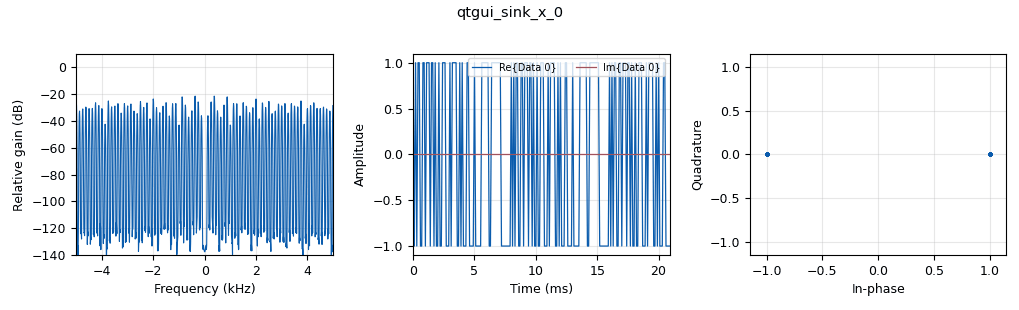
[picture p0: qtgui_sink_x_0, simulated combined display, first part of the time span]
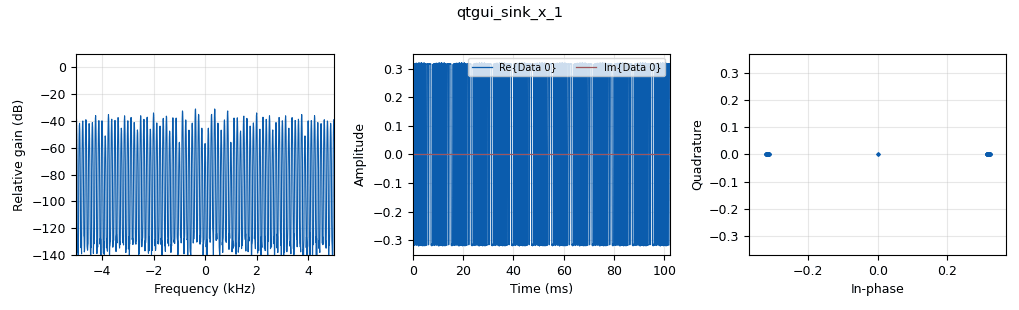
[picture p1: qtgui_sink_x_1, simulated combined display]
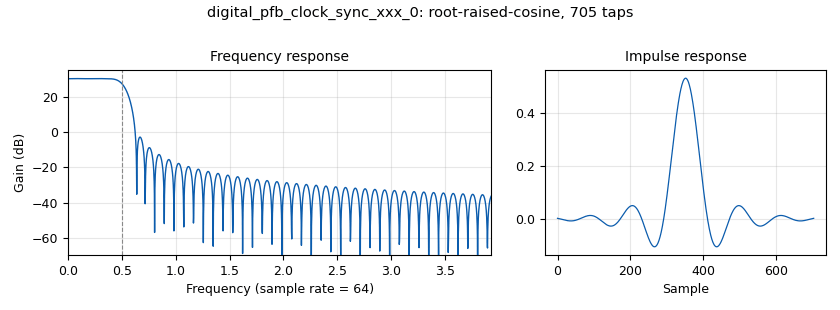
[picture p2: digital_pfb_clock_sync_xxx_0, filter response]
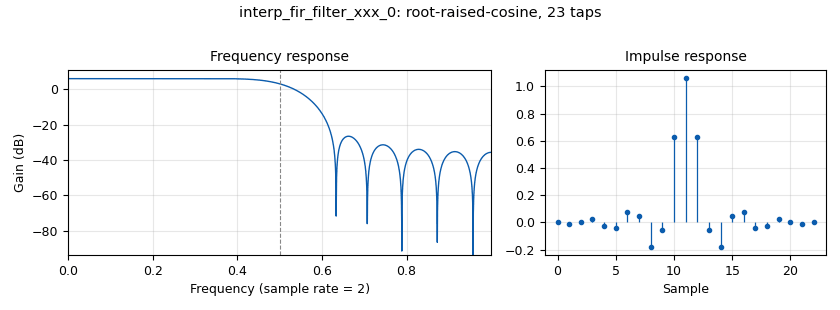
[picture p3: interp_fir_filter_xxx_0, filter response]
options:
  parameters:
    category: Custom
    generate_options: qt_gui
    id: example_corr_est_and_clock_sync
    output_language: python
  states: {}

blocks:
- name: ac
  id: variable
  parameters:
    value: 'list(map(lambda x: int(x), list(digital.packet_utils.default_access_code)))'
  states: {}
- name: ac_hex
  id: variable
  parameters:
    value: '[0xac, 0xdd, 0xa4, 0xe2, 0xf2, 0x8c, 0x20, 0xfc]'
  states: {}
- name: eb
  id: variable
  parameters:
    value: '0.22'
  states: {}
- name: filt_delay
  id: variable
  parameters:
    value: 1+(len(rrc_taps)-1)//2
  states: {}
- name: freq_off
  id: variable_qtgui_range
  parameters:
    gui_hint: 1,0,1,1
    label: Freq. Off.
    start: '-0.25'
    step: '0.0001'
    stop: '0.25'
    value: '0'
  states: {}
- name: hdr_const
  id: variable_constellation
  parameters:
    const_points: digital.psk_2()[0]
    dims: '1'
    normalization: digital.constellation.AMPLITUDE_NORMALIZATION
    precision: '8'
    rot_sym: '2'
    soft_dec_lut: '''auto'''
    sym_map: digital.psk_2()[1]
    type: calcdist
  states: {}
- name: mark_delay
  id: variable
  parameters:
    value: mark_delays[sps]
  states: {}
- name: mark_delays
  id: variable
  parameters:
    comment: |-
      Tag Marking Delay for 
      Corr Est block, indexed
      by sps.

      Found empirically.
    value: '[0, 0, 34, 56, 87, 119]'
  states: {}
- name: modulated_sync_word
  id: variable_modulate_vector
  parameters:
    data: ac_hex
    mod: rxmod
    taps: '[1]'
  states: {}
- name: nfilts
  id: variable
  parameters:
    value: '32'
  states: {}
- name: noise
  id: variable_qtgui_range
  parameters:
    gui_hint: 0,1,1,1
    label: Noise Power
    start: '-50'
    step: '1'
    stop: '10'
    value: '-50'
  states: {}
- name: path_loss
  id: variable_qtgui_range
  parameters:
    gui_hint: 0,0,1,1
    label: Path Loss (dB)
    start: '0'
    step: '5'
    stop: '140'
    value: '10'
  states: {}
- name: rrc_taps
  id: variable_rrc_filter_taps
  parameters:
    alpha: eb
    gain: sps
    ntaps: 11*sps
    samp_rate: sps
    sym_rate: '1.0'
  states: {}
- name: rx_psf_taps
  id: variable_rrc_filter_taps
  parameters:
    alpha: eb
    gain: nfilts
    ntaps: 11*sps*nfilts
    samp_rate: sps*nfilts
    sym_rate: '1.0'
  states: {}
- name: rxmod
  id: variable
  parameters:
    value: digital.generic_mod(hdr_const, False, sps, True, eb, False, False)
  states: {}
- name: samp_rate
  id: variable
  parameters:
    value: 10e3
  states: {}
- name: sps
  id: variable
  parameters:
    value: '2'
  states: {}
- name: time_off
  id: variable_qtgui_range
  parameters:
    gui_hint: 1,1,1,1
    label: Time Off.
    start: '0.9999'
    step: '0.00001'
    stop: '1.0001'
    value: '1.0'
  states: {}
- name: blocks_add_const_vxx_0
  id: blocks_add_const_vxx
  parameters:
    const: '-1'
    type: complex
  states: {}
- name: blocks_complex_to_mag_squared_0
  id: blocks_complex_to_mag_squared
  parameters: {}
  states: {state: disabled}
- name: blocks_multiply_const_vxx_0
  id: blocks_multiply_const_vxx
  parameters:
    const: '2'
    type: complex
  states: {}
- name: blocks_null_source_0
  id: blocks_null_source
  parameters:
    type: complex
  states: {}
- name: blocks_stream_mux_0
  id: blocks_stream_mux
  parameters:
    lengths: (80, 80)
    type: complex
  states: {}
- name: blocks_stream_to_tagged_stream_0
  id: blocks_stream_to_tagged_stream
  parameters:
    len_tag_key: '"packet_len"'
    packet_len: len(ac)+16
    type: complex
  states: {}
- name: blocks_tagged_stream_align_0
  id: blocks_tagged_stream_align
  parameters:
    lengthtagname: '"corr_start"'
    type: complex
  states: {}
- name: blocks_throttle_0
  id: blocks_throttle
  parameters:
    samples_per_second: samp_rate
    type: complex
  states: {}
- name: blocks_vector_source_x_0
  id: blocks_vector_source_x
  parameters:
    repeat: 'True'
    type: complex
    vector: '[1,1,1,1,1,1,1,1,0,0,0,0,0,0,0,0] + ac'
  states: {}
- name: channels_channel_model_0
  id: channels_channel_model
  parameters:
    block_tags: 'True'
    epsilon: time_off
    freq_offset: freq_off
    noise_voltage: sps * 10.0**(noise/10.0)
    seed: '0'
    taps: 10.0**(-path_loss/20.0)
  states: {}
- name: digital_corr_est_cc_0
  id: digital_corr_est_cc
  parameters:
    mark_delay: mark_delay
    sps: sps
    symbols: modulated_sync_word
    threshold: '0.999'
    threshold_method: digital.THRESHOLD_DYNAMIC
  states: {}
- name: digital_pfb_clock_sync_xxx_0
  id: digital_pfb_clock_sync_xxx
  parameters:
    filter_size: nfilts
    init_phase: nfilts/2
    loop_bw: 6.28/400.0
    max_dev: '1.5'
    osps: '1'
    sps: sps
    taps: rx_psf_taps
    type: ccf
  states: {}
- name: epy_block_0
  id: epy_block
  parameters:
    _source_code: |-
      import numpy as np
      from gnuradio import gr
      import pmt

      class my_basic_adder_block(gr.basic_block):
          def __init__(self,tag_name = 'packet_len', len = 1):
              gr.basic_block.__init__(self,
                                      name="Tagged Stream Cropper",
                                      in_sig  = [np.complex64],
                                      out_sig = [np.complex64])

              self.previous_tag_n_remainder = 0
              self.tag_name                 = tag_name
              self.set_tag_propagation_policy(gr.TPP_DONT)
              self.len = len


          def general_work(self, input_items, output_items):
              len_out = len(output_items[0])

              # DO PROCESSING
              out_produced = 0 # output produced 

              #-> Write the remaining data of the previous tag
              if self.previous_tag_n_remainder > 0: 
                  if self.previous_tag_n_remainder < len_out: # if the length of the input items is sufficient to write the remainder of the previous tag items 
                      output_items[0][:self.previous_tag_n_remainder] = input_items[0][:self.previous_tag_n_remainder] #write to output 
                      out_produced                                   += self.previous_tag_n_remainder                  #inccrease the number of item produced
                      self.previous_tag_n_remainder = 0                                                                #reset the counter 
                      # the RETURN is at the end of the work()

                  else: # self.previous_tag_n_remainder >= len_out
                      output_items[0][:len_out]      = input_items[0][:len_out]
                      self.previous_tag_n_remainder -= len_out
                      self.consume(0, len_out)
                      return len_out

              # READ TAGS AND PARSE THE RECEIVED STREAM
              tags = self.get_tags_in_window(0, out_produced, len_out)

              #if there exist tag
              if len(tags) > 0:
                  #for each tag apply
                  for tag in tags:
                      tag_name   = pmt.to_python(tag.key)            # packet_tag
                      tag_len    = self.len          # packet_len
                      tag_pos    = tag.offset - self.nitems_read(0)  # packet_position_index
                      if tag_name == self.tag_name:       #check if the tag name is appropriate
                          if tag_pos + tag_len < len_out: # if all the elements correspding to the "tag" are included in the input_items

                              # write the elements to the output
                              output_items[0][out_produced:(out_produced+tag_len)] = input_items[0][tag_pos:(tag_pos+tag_len)]

                              # add tag to the corresponding start point                     
                              self.add_item_tag(0,                                   # Write to output port 0
                                               self.nitems_written(0)+out_produced,  # Index of the tag in absolute terms
                                               tag.key,                              # Key of the tag
                                               tag.value                             # Value of the tag
                                               )
                              #increase the number of output element produced counter
                              out_produced += tag_len

                          else: #tag_pos+tag_len >= len_out:
                              n_item_to_wrt = len_out - tag_pos
                              output_items[0][out_produced:(out_produced + n_item_to_wrt)] = input_items[0][tag_pos:(tag_pos+n_item_to_wrt)]

                              self.add_item_tag(0,                                     # Write to output port 0
                                                self.nitems_written(0)+out_produced,   # Index of the tag in absolute terms
                                                tag.key,                               # Key of the tag
                                                tag.value                              # Value of the tag
                                                )

                              self.previous_tag_n_remainder = tag_len - n_item_to_wrt
                              out_produced                 += n_item_to_wrt
                              self.consume(0,len_out)
                              return out_produced

              #if there is no tag exits
              self.consume(0,len_out)

              #recall that the first "if" state is producing element!
              return out_produced
    len: '80'
    tag_name: '"corr_start"'
  states: {}
- name: interp_fir_filter_xxx_0
  id: interp_fir_filter_xxx
  parameters:
    interp: sps
    samp_delay: filt_delay
    taps: rrc_taps
    type: ccc
  states: {}
- name: qtgui_const_sink_x_0
  id: qtgui_const_sink_x
  parameters:
    gui_hint: tab1@1
    legend: 'False'
    size: '512'
    type: complex
  states: {state: disabled}
- name: qtgui_sink_x_0
  id: qtgui_sink_x
  parameters:
    bw: samp_rate
    fc: '0'
    fftsize: '1024'
    type: complex
  states: {}
- name: qtgui_sink_x_1
  id: qtgui_sink_x
  parameters:
    bw: samp_rate
    fc: '0'
    fftsize: '1024'
    type: complex
  states: {}
- name: qtgui_time_sink_x_0
  id: qtgui_time_sink_x
  parameters:
    label1: ''
    label2: ''
    legend: 'False'
    size: '200'
    srate: samp_rate
    tr_delay: '15'
    tr_mode: qtgui.TRIG_MODE_TAG
    tr_tag: corr_start
    type: complex
    ymax: '1.5'
    ymin: '-1.5'
  states: {}
- name: qtgui_time_sink_x_0_0
  id: qtgui_time_sink_x
  parameters:
    gui_hint: tab0@0
    label1: ''
    label2: ''
    legend: 'False'
    size: '512'
    srate: '1'
    tr_delay: '15'
    tr_level: '0'
    tr_mode: qtgui.TRIG_MODE_TAG
    tr_tag: corr_est
    type: complex
    ymax: '100'
    ymin: '-100'
  states: {state: disabled}
- name: qtgui_time_sink_x_0_0_0
  id: qtgui_time_sink_x
  parameters:
    gui_hint: tab0@1
    label1: ''
    legend: 'False'
    size: '512'
    srate: '1'
    tr_delay: '15'
    tr_level: '0'
    tr_mode: qtgui.TRIG_MODE_TAG
    tr_tag: corr_est
    type: float
    ymax: '4000'
    ymin: '-100'
  states: {state: disabled}
- name: virtual_sink_0
  id: virtual_sink
  parameters:
    stream_id: tx
  states: {}
- name: virtual_sink_1
  id: virtual_sink
  parameters:
    stream_id: rx
  states: {}
- name: virtual_source_0
  id: virtual_source
  parameters:
    stream_id: rx
  states: {}
- name: virtual_source_1
  id: virtual_source
  parameters:
    stream_id: tx
  states: {}

connections:
- [blocks_add_const_vxx_0, '0', blocks_throttle_0, '0']
- [blocks_complex_to_mag_squared_0, '0', qtgui_time_sink_x_0_0_0, '0']
- [blocks_multiply_const_vxx_0, '0', blocks_add_const_vxx_0, '0']
- [blocks_null_source_0, '0', blocks_stream_mux_0, '0']
- [blocks_stream_mux_0, '0', interp_fir_filter_xxx_0, '0']
- [blocks_stream_to_tagged_stream_0, '0', blocks_stream_mux_0, '1']
- [blocks_stream_to_tagged_stream_0, '0', qtgui_sink_x_0, '0']
- [blocks_tagged_stream_align_0, '0', epy_block_0, '0']
- [blocks_throttle_0, '0', blocks_stream_to_tagged_stream_0, '0']
- [blocks_vector_source_x_0, '0', blocks_multiply_const_vxx_0, '0']
- [channels_channel_model_0, '0', virtual_sink_1, '0']
- [digital_corr_est_cc_0, '0', digital_pfb_clock_sync_xxx_0, '0']
- [digital_corr_est_cc_0, '1', blocks_complex_to_mag_squared_0, '0']
- [digital_corr_est_cc_0, '1', qtgui_time_sink_x_0_0, '0']
- [digital_pfb_clock_sync_xxx_0, '0', blocks_tagged_stream_align_0, '0']
- [digital_pfb_clock_sync_xxx_0, '0', qtgui_const_sink_x_0, '0']
- [digital_pfb_clock_sync_xxx_0, '0', qtgui_time_sink_x_0, '0']
- [epy_block_0, '0', qtgui_sink_x_1, '0']
- [interp_fir_filter_xxx_0, '0', virtual_sink_0, '0']
- [virtual_source_0, '0', digital_corr_est_cc_0, '0']
- [virtual_source_1, '0', channels_channel_model_0, '0']

metadata:
  file_format: 1
  grc_version: 3.10.2.0
